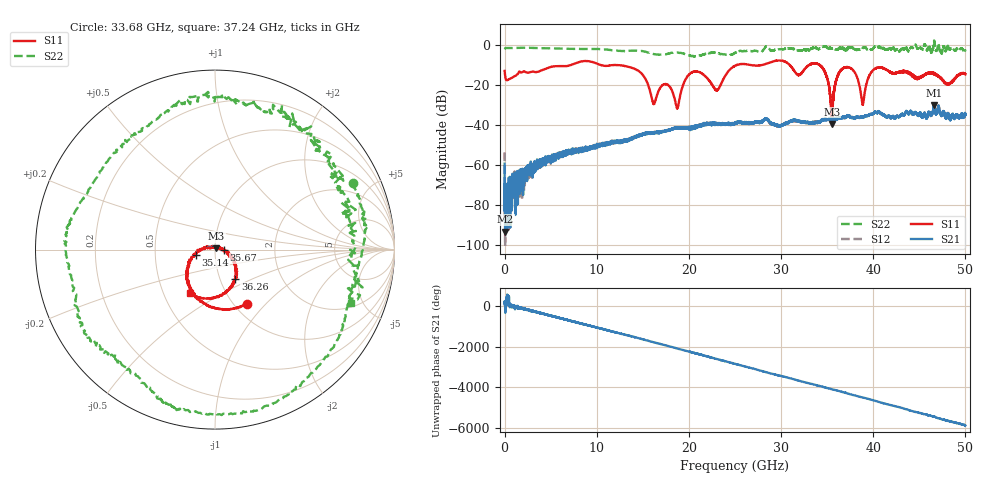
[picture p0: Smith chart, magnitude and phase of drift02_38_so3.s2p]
!Created with skrf (http://scikit-rf.org).
# Hz S RI R 50.0
!freq ReS11 ImS11 ReS21 ImS21 ReS12 ImS12 ReS22 ImS22
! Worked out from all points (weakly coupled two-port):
!   10001 points, 300 kHz to 50 GHz, reference 50 ohm
!   highest |S21| = -30.16 dB at 46.63 GHz (marker M1); lowest = -93.3 dB at 80.3 MHz (marker M2)
!   lowest |S11| = -39.5 dB at 35.53 GHz (marker M3), VSWR 1.02, Z = 50.7 + j0.778 ohm
!   |S11| at or under -10 dB: start of sweep to 7.18 GHz; 12.39 GHz to 25.17 GHz (12.78 GHz wide, 68.1 % of centre); 34.2 GHz to end of sweep (the widest 3 of 17)
!   |S22| runs from -5.7 to 2.3 dB; largest |S21 - S12| = 0.0038
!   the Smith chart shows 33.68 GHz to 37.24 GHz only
!   S11 on the Smith chart (normalised r, x): 33.68 GHz: 1.15, -0.79; 35.14 GHz: 0.81, -0.05; 35.67 GHz: 1.10, -0.00; 36.26 GHz: 1.18, -0.40; 37.24 GHz: 0.68, -0.36
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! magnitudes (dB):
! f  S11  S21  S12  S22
! 300 kHz  -12.9  -59.4  -53.7  -2.1
! 80.3 MHz  -16.3  -93.3  -79.2  -1.5
! 255.3 MHz  -17.6  -87.9  -74.1  -1.4
! 3.555 GHz  -13.4  -60.3  -59.9  -1.5
! 8.335 GHz  -8.2  -52.5  -51.9  -1.9
! 16.67 GHz  -23.3  -43.6  -43.6  -4.7
! 18.74 GHz  -31.7  -41.6  -41.3  -3.7
! 20.24 GHz  -13.9  -42.0  -41.5  -5.5
! 23.04 GHz  -22.6  -39.4  -39.2  -4.1
! 25 GHz  -10.3  -39.1  -39.1  -3.9
! 33.34 GHz  -9.3  -38.7  -38.8  -1.6
! 33.68 GHz  -9.1  -38.7  -38.6  -1.4
! 35.14 GHz  -19.2  -37.5  -36.9  -1.6
! 35.53 GHz  -39.5  -36.9  -36.9  -1.7
! 35.67 GHz  -26.1  -36.6  -36.6  -1.5
! 36.26 GHz  -14.1  -36.4  -36.5  -1.7
! 37.24 GHz  -11.0  -35.8  -35.8  -1.8
! 38.86 GHz  -29.8  -36.2  -36.3  -1.3
! 39.96 GHz  -12.7  -34.4  -34.5  -1.9
! 41.67 GHz  -13.0  -35.8  -35.6  -2.0
! 46.63 GHz  -14.1  -30.2  -30.5  1.9
! 50 GHz  -14.5  -35.0  -34.6  -2.6
